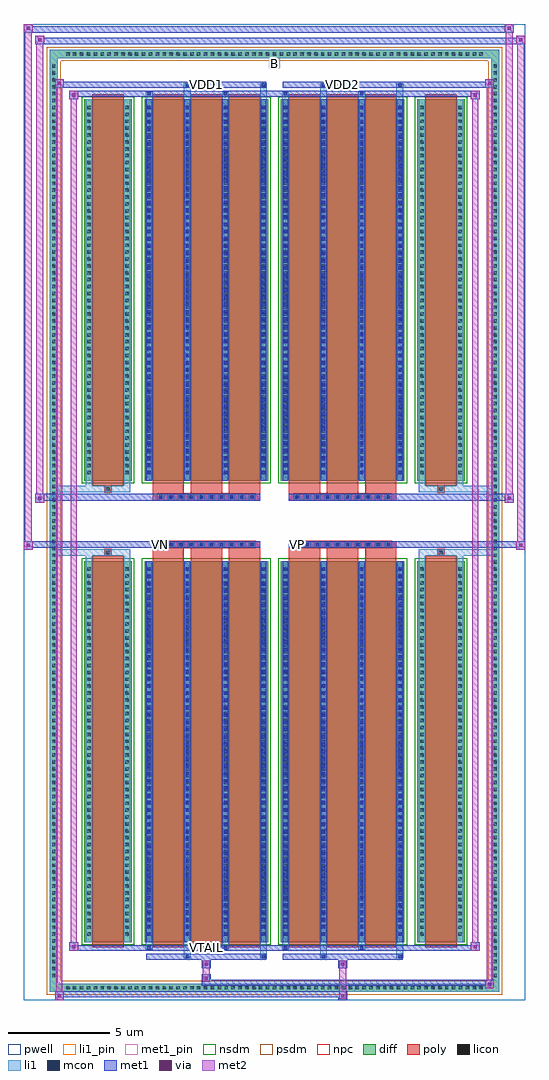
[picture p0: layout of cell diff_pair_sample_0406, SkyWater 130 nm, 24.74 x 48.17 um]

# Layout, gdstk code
import gdstk
lib = gdstk.Library(unit=1e-6, precision=5e-09)
def R(c, l, rs):  # rectangles x0, y0, x1, y1
    for r in rs: c.add(gdstk.rectangle(r[:2], r[2:], *l))
def A(c, l, x, y, w, h, nx, ny, dx, dy):  # array of equal rectangles
    R(c, l, [(x+i*dx, y+j*dy, x+i*dx+w, y+j*dy+h) for i in range(nx) for j in range(ny)])
def P(c, l, *ps):  # polygons
    for p in ps: c.add(gdstk.Polygon(p, *l))
pwell = (64, 44)
diff = (65, 20)
poly = (66, 20)
licon = (66, 44)
li1_pin = (67, 16)
li1 = (67, 20)
mcon = (67, 44)
met1_pin = (68, 16)
met1 = (68, 20)
via = (68, 44)
met2 = (69, 20)
nsdm = (93, 44)
psdm = (94, 20)
npc = (95, 20)

diff_pair_sample_0406 = lib.new_cell('diff_pair_sample_0406')
R(diff_pair_sample_0406, pwell, [(-12.37,-23.65,12.37,24.52), (-9.69,-21.84,-0.01,-0.8), (0.01,-21.84,9.69,-0.8), (-9.69,0.8,-0.01,21.84), (0.01,0.8,9.69,21.84)])
A(diff_pair_sample_0406, diff, -10.405, -23.25, 0.41, 0.41, 61, 2, 0.34, 46.09)
A(diff_pair_sample_0406, diff, -11.1, -22.645, 0.41, 0.41, 1, 133, 0, 0.34)
A(diff_pair_sample_0406, diff, 10.69, -22.645, 0.41, 0.41, 1, 133, 0, 0.34)
R(diff_pair_sample_0406, diff, [(-10.405,-23.25,10.405,-22.84), (-11.1,-22.645,-10.69,22.645), (10.69,-22.645,11.1,22.645), (-9.38,-20.795,-7.05,-1.985), (-6.41,-20.795,-0.32,-1.985), (0.32,-20.795,6.41,-1.985), (7.05,-20.795,9.38,-1.985), (-9.38,1.985,-7.05,20.795), (-6.41,1.985,-0.32,20.795), (0.32,1.985,6.41,20.795), (7.05,1.985,9.38,20.795), (-10.405,22.84,10.405,23.25)])
P(diff_pair_sample_0406, diff, [(11.1,23.25),(-11.1,23.25),(-11.1,-22.84),(-10.69,-22.84),(-10.69,22.84),(10.69,22.84),(10.69,-22.84),(-10.69,-22.84),(-11.1,-22.84),(-11.1,-23.25),(11.1,-23.25)])
A(diff_pair_sample_0406, poly, -6.02, -21.045, 1.55, 19.31, 3, 2, 1.88, 22.78)
A(diff_pair_sample_0406, poly, 0.71, -21.045, 1.55, 19.31, 3, 2, 1.88, 22.78)
A(diff_pair_sample_0406, poly, -6.02, -1.735, 1.55, 0.405, 3, 2, 1.88, 3.065)
A(diff_pair_sample_0406, poly, 0.71, -1.735, 1.55, 0.405, 3, 2, 1.88, 3.065)
A(diff_pair_sample_0406, poly, -5.78, -1.33, 0.33, 0.33, 10, 2, 0.5, 2.33)
A(diff_pair_sample_0406, poly, 0.95, -1.33, 0.33, 0.33, 10, 2, 0.5, 2.33)
R(diff_pair_sample_0406, poly, [(-8.99,-21.045,-7.44,-1.735), (7.44,-21.045,8.99,-1.735), (-8.38,-1.735,-8.05,-1.405), (-8.38,-1.735,-8.05,-1.405), (8.05,-1.735,8.38,-1.405), (8.05,-1.735,8.38,-1.405), (-6.02,-1.33,-0.71,-1), (0.71,-1.33,6.02,-1), (-6.02,1,-0.71,1.33), (0.71,1,6.02,1.33), (-8.38,1.405,-8.05,1.735), (-8.38,1.405,-8.05,1.735), (8.05,1.405,8.38,1.735), (8.05,1.405,8.38,1.735), (-8.99,1.735,-7.44,21.045), (7.44,1.735,8.99,21.045)])
A(diff_pair_sample_0406, licon, -10.285, -23.13, 0.17, 0.17, 61, 2, 0.34, 46.09)
A(diff_pair_sample_0406, licon, -10.98, -22.525, 0.17, 0.17, 1, 133, 0, 0.34)
A(diff_pair_sample_0406, licon, 10.81, -22.525, 0.17, 0.17, 1, 133, 0, 0.34)
A(diff_pair_sample_0406, licon, -9.24, -20.485, 0.17, 0.17, 1, 54, 0, 0.34)
A(diff_pair_sample_0406, licon, -7.36, -20.485, 0.17, 0.17, 1, 54, 0, 0.34)
A(diff_pair_sample_0406, licon, -6.27, -20.485, 0.17, 0.17, 4, 54, 1.88, 0.34)
A(diff_pair_sample_0406, licon, 0.46, -20.485, 0.17, 0.17, 4, 54, 1.88, 0.34)
A(diff_pair_sample_0406, licon, 7.19, -20.485, 0.17, 0.17, 1, 54, 0, 0.34)
A(diff_pair_sample_0406, licon, 9.07, -20.485, 0.17, 0.17, 1, 54, 0, 0.34)
A(diff_pair_sample_0406, licon, -5.7, -1.25, 0.17, 0.17, 10, 2, 0.5, 2.33)
A(diff_pair_sample_0406, licon, 1.03, -1.25, 0.17, 0.17, 10, 2, 0.5, 2.33)
A(diff_pair_sample_0406, licon, -9.24, 2.295, 0.17, 0.17, 1, 54, 0, 0.34)
A(diff_pair_sample_0406, licon, -7.36, 2.295, 0.17, 0.17, 1, 54, 0, 0.34)
A(diff_pair_sample_0406, licon, -6.27, 2.295, 0.17, 0.17, 4, 54, 1.88, 0.34)
A(diff_pair_sample_0406, licon, 0.46, 2.295, 0.17, 0.17, 4, 54, 1.88, 0.34)
A(diff_pair_sample_0406, licon, 7.19, 2.295, 0.17, 0.17, 1, 54, 0, 0.34)
A(diff_pair_sample_0406, licon, 9.07, 2.295, 0.17, 0.17, 1, 54, 0, 0.34)
R(diff_pair_sample_0406, licon, [(-8.3,-1.655,-8.13,-1.485), (8.13,-1.655,8.3,-1.485), (-8.3,1.485,-8.13,1.655), (8.13,1.485,8.3,1.655)])
R(diff_pair_sample_0406, li1_pin, [(-0.25,22.34,0.25,22.84)])
A(diff_pair_sample_0406, li1, -10.365, -23.21, 0.33, 0.33, 61, 2, 0.34, 46.09)
A(diff_pair_sample_0406, li1, -11.06, -22.605, 0.33, 0.33, 1, 133, 0, 0.34)
A(diff_pair_sample_0406, li1, 10.73, -22.605, 0.33, 0.33, 1, 133, 0, 0.34)
A(diff_pair_sample_0406, li1, -6.35, -20.795, 0.33, 18.81, 4, 2, 1.88, 22.78)
A(diff_pair_sample_0406, li1, 0.38, -20.795, 0.33, 18.81, 4, 2, 1.88, 22.78)
A(diff_pair_sample_0406, li1, -9.32, -20.565, 0.33, 0.33, 1, 54, 0, 0.34)
A(diff_pair_sample_0406, li1, -7.44, -20.565, 0.33, 0.33, 1, 54, 0, 0.34)
A(diff_pair_sample_0406, li1, -6.35, -20.565, 0.33, 0.33, 4, 54, 1.88, 0.34)
A(diff_pair_sample_0406, li1, 0.38, -20.565, 0.33, 0.33, 4, 54, 1.88, 0.34)
A(diff_pair_sample_0406, li1, 7.11, -20.565, 0.33, 0.33, 1, 54, 0, 0.34)
A(diff_pair_sample_0406, li1, 8.99, -20.565, 0.33, 0.33, 1, 54, 0, 0.34)
A(diff_pair_sample_0406, li1, -6.27, -20.475, 0.17, 0.17, 4, 51, 1.88, 0.36)
A(diff_pair_sample_0406, li1, -6.27, -20.475, 0.17, 18.17, 4, 2, 1.88, 22.78)
A(diff_pair_sample_0406, li1, 0.46, -20.475, 0.17, 0.17, 4, 51, 1.88, 0.36)
A(diff_pair_sample_0406, li1, 0.46, -20.475, 0.17, 18.17, 4, 2, 1.88, 22.78)
A(diff_pair_sample_0406, li1, -5.78, -1.33, 0.33, 0.33, 10, 2, 0.5, 2.33)
A(diff_pair_sample_0406, li1, 0.95, -1.33, 0.33, 0.33, 10, 2, 0.5, 2.33)
A(diff_pair_sample_0406, li1, -9.32, 2.215, 0.33, 0.33, 1, 54, 0, 0.34)
A(diff_pair_sample_0406, li1, -7.44, 2.215, 0.33, 0.33, 1, 54, 0, 0.34)
A(diff_pair_sample_0406, li1, -6.35, 2.215, 0.33, 0.33, 4, 54, 1.88, 0.34)
A(diff_pair_sample_0406, li1, 0.38, 2.215, 0.33, 0.33, 4, 54, 1.88, 0.34)
A(diff_pair_sample_0406, li1, 7.11, 2.215, 0.33, 0.33, 1, 54, 0, 0.34)
A(diff_pair_sample_0406, li1, 8.99, 2.215, 0.33, 0.33, 1, 54, 0, 0.34)
A(diff_pair_sample_0406, li1, -6.27, 2.305, 0.17, 0.17, 4, 51, 1.88, 0.36)
A(diff_pair_sample_0406, li1, 0.46, 2.305, 0.17, 0.17, 4, 51, 1.88, 0.36)
R(diff_pair_sample_0406, li1, [(-11.1,-23.25,-10.69,-22.84), (-11.1,-23.25,-10.69,-22.84), (-10.69,-23.25,10.69,-22.84), (10.69,-23.25,11.1,-22.84), (10.69,-23.25,11.1,-22.84), (-11.1,-22.84,-10.69,22.84), (10.69,-22.84,11.1,22.84), (-4.47,-21.6,-4.14,-20.795), (-4.39,-21.6,-4.22,-21.43), (-0.71,-21.6,-0.38,-20.795), (-0.63,-21.6,-0.46,-21.43), (2.26,-21.6,2.59,-20.795), (2.34,-21.6,2.51,-21.43), (6.02,-21.6,6.35,-20.795), (6.1,-21.6,6.27,-21.43), (-6.35,-21.17,-6.02,-20.795), (-6.27,-21.17,-6.1,-21), (-2.59,-21.17,-2.26,-20.795), (-2.51,-21.17,-2.34,-21), (0.38,-21.17,0.71,-20.795), (0.46,-21.17,0.63,-21), (4.14,-21.17,4.47,-20.795), (4.22,-21.17,4.39,-21), (-9.32,-20.795,-8.99,-1.985), (-7.44,-20.795,-7.11,-1.985), (7.11,-20.795,7.44,-1.985), (8.99,-20.795,9.32,-1.985), (-9.32,-1.985,-8.99,-1.405), (-7.44,-1.985,-7.11,-1.405), (7.11,-1.985,7.44,-1.405), (8.99,-1.985,9.32,-1.405), (-11.1,-1.735,-8.38,-1.405), (-9.32,-1.735,-8.38,-1.405), (-8.38,-1.735,-8.05,-1.405), (-8.05,-1.735,-7.11,-1.405), (7.11,-1.735,8.05,-1.405), (8.05,-1.735,8.38,-1.405), (8.05,-1.735,11.1,-1.405), (8.38,-1.735,9.32,-1.405), (-11.1,1.405,-8.38,1.735), (-9.32,1.405,-8.38,1.735), (-9.32,1.405,-8.99,1.985), (-8.38,1.405,-8.05,1.735), (-8.05,1.405,-7.11,1.735), (-7.44,1.405,-7.11,1.985), (7.11,1.405,8.05,1.735), (7.11,1.405,7.44,1.985), (8.05,1.405,8.38,1.735), (8.05,1.405,11.1,1.735), (8.38,1.405,9.32,1.735), (8.99,1.405,9.32,1.985), (-9.32,1.985,-8.99,20.795), (-7.44,1.985,-7.11,20.795), (7.11,1.985,7.44,20.795), (8.99,1.985,9.32,20.795), (-6.35,20.795,-6.02,21.17), (-4.47,20.795,-4.14,21.6), (-2.59,20.795,-2.26,21.17), (-0.71,20.795,-0.38,21.6), (0.38,20.795,0.71,21.17), (2.26,20.795,2.59,21.6), (4.14,20.795,4.47,21.17), (6.02,20.795,6.35,21.6), (-6.27,21,-6.1,21.17), (-2.51,21,-2.34,21.17), (0.46,21,0.63,21.17), (4.22,21,4.39,21.17), (-4.39,21.43,-4.22,21.6), (-0.63,21.43,-0.46,21.6), (2.34,21.43,2.51,21.6), (6.1,21.43,6.27,21.6), (-11.1,22.84,-10.69,23.25), (-11.1,22.84,-10.69,23.25), (-10.69,22.84,10.69,23.25), (10.69,22.84,11.1,23.25), (10.69,22.84,11.1,23.25)])
A(diff_pair_sample_0406, mcon, -6.27, -20.475, 0.17, 0.17, 4, 51, 1.88, 0.36)
A(diff_pair_sample_0406, mcon, 0.46, -20.475, 0.17, 0.17, 4, 51, 1.88, 0.36)
A(diff_pair_sample_0406, mcon, -5.7, -1.25, 0.17, 0.17, 10, 2, 0.5, 2.33)
A(diff_pair_sample_0406, mcon, 1.03, -1.25, 0.17, 0.17, 10, 2, 0.5, 2.33)
A(diff_pair_sample_0406, mcon, -6.27, 2.305, 0.17, 0.17, 4, 51, 1.88, 0.36)
A(diff_pair_sample_0406, mcon, 0.46, 2.305, 0.17, 0.17, 4, 51, 1.88, 0.36)
R(diff_pair_sample_0406, mcon, [(-4.39,-21.6,-4.22,-21.43), (-0.63,-21.6,-0.46,-21.43), (2.34,-21.6,2.51,-21.43), (6.1,-21.6,6.27,-21.43), (-6.27,-21.17,-6.1,-21), (-2.51,-21.17,-2.34,-21), (0.46,-21.17,0.63,-21), (4.22,-21.17,4.39,-21), (-6.27,21,-6.1,21.17), (-2.51,21,-2.34,21.17), (0.46,21,0.63,21.17), (4.22,21,4.39,21.17), (-4.39,21.43,-4.22,21.6), (-0.63,21.43,-0.46,21.6), (2.34,21.43,2.51,21.6), (6.1,21.43,6.27,21.6)])
R(diff_pair_sample_0406, met1_pin, [(-3.5,-21.21,-3.23,-20.94), (-5.75,-1.29,-5.48,-1.02), (0.98,-1.29,1.25,-1.02), (-3.5,21.39,-3.23,21.66), (3.23,21.39,3.5,21.66)])
A(diff_pair_sample_0406, met1, -6.33, -20.795, 0.29, 18.81, 4, 2, 1.88, 22.78)
A(diff_pair_sample_0406, met1, 0.4, -20.795, 0.29, 18.81, 4, 2, 1.88, 22.78)
A(diff_pair_sample_0406, met1, -6.33, -20.535, 0.29, 0.29, 4, 51, 1.88, 0.36)
A(diff_pair_sample_0406, met1, 0.4, -20.535, 0.29, 0.29, 4, 51, 1.88, 0.36)
A(diff_pair_sample_0406, met1, -5.76, -1.31, 0.29, 0.29, 10, 2, 0.5, 2.33)
A(diff_pair_sample_0406, met1, 0.97, -1.31, 0.29, 0.29, 10, 2, 0.5, 2.33)
A(diff_pair_sample_0406, met1, -6.33, 2.245, 0.29, 0.29, 4, 51, 1.88, 0.36)
A(diff_pair_sample_0406, met1, 0.4, 2.245, 0.29, 0.29, 4, 51, 1.88, 0.36)
R(diff_pair_sample_0406, met1, [(-10.83,-23.65,-10.4,-23.22), (3.15,-23.65,3.58,-23.22), (-10.83,-23.51,3.58,-23.22), (10.4,-23.08,10.83,-22.65), (-3.58,-22.94,10.83,-22.65), (-3.58,-22.8,-3.15,-22.37), (-3.58,-22.09,-3.15,-21.66), (3.15,-22.09,3.58,-21.66), (-6.33,-21.66,-0.4,-21.37), (-4.45,-21.66,-4.16,-21.37), (-0.69,-21.66,-0.4,-21.37), (0.4,-21.66,6.33,-21.37), (2.28,-21.66,2.57,-21.37), (6.04,-21.66,6.33,-21.37), (-10.12,-21.23,-9.69,-20.8), (-10.12,-21.23,-6.33,-20.94), (-6.33,-21.23,-6.04,-20.94), (-6.33,-21.23,-0.4,-20.94), (-2.57,-21.23,-2.28,-20.94), (-0.4,-21.23,0.4,-20.94), (0.4,-21.23,0.69,-20.94), (0.4,-21.23,6.33,-20.94), (4.16,-21.23,4.45,-20.94), (6.33,-21.23,10.12,-20.94), (9.69,-21.23,10.12,-20.8), (-12.37,-1.43,-11.94,-1), (11.94,-1.43,12.37,-1), (-12.37,-1.33,-0.71,-1), (-6.02,-1.33,-0.71,-1), (0.71,-1.33,6.02,-1), (0.71,-1.33,12.37,-1), (-11.8,0.9,-11.37,1.33), (11.37,0.9,11.8,1.33), (-11.8,1,-6.02,1.33), (-6.02,1,-0.71,1.33), (0.71,1,6.02,1.33), (6.02,1,11.8,1.33), (-10.12,20.8,-9.69,21.23), (9.69,20.8,10.12,21.23), (-10.12,20.94,-6.33,21.23), (-6.33,20.94,-6.04,21.23), (-6.33,20.94,-0.4,21.23), (-2.57,20.94,-2.28,21.23), (-0.4,20.94,0.4,21.23), (0.4,20.94,0.69,21.23), (0.4,20.94,6.33,21.23), (4.16,20.94,4.45,21.23), (6.33,20.94,10.12,21.23), (-10.83,21.37,-10.4,21.8), (-10.83,21.37,-6.33,21.66), (-6.33,21.37,-0.4,21.66), (-4.45,21.37,-4.16,21.66), (-0.69,21.37,-0.4,21.66), (0.4,21.37,6.33,21.66), (2.28,21.37,2.57,21.66), (6.04,21.37,6.33,21.66), (6.33,21.37,10.83,21.66), (10.4,21.37,10.83,21.8), (-11.8,23.52,-11.37,23.95), (-11.8,23.52,-9.69,23.85), (-9.69,23.52,9.69,23.85), (9.69,23.52,12.37,23.85), (11.94,23.52,12.37,23.95), (-12.37,24.09,-11.94,24.52), (-12.37,24.09,-9.69,24.42), (-9.69,24.09,9.69,24.42), (9.69,24.09,11.8,24.42), (11.37,24.09,11.8,24.52)])
R(diff_pair_sample_0406, via, [(-10.69,-23.51,-10.54,-23.36), (3.29,-23.51,3.44,-23.36), (10.54,-22.94,10.69,-22.79), (-3.44,-22.66,-3.29,-22.51), (-3.44,-21.95,-3.29,-21.8), (3.29,-21.95,3.44,-21.8), (-9.98,-21.09,-9.83,-20.94), (9.83,-21.09,9.98,-20.94), (-12.23,-1.29,-12.08,-1.14), (12.08,-1.29,12.23,-1.14), (-11.66,1.04,-11.51,1.19), (11.51,1.04,11.66,1.19), (-9.98,20.94,-9.83,21.09), (9.83,20.94,9.98,21.09), (-10.69,21.51,-10.54,21.66), (10.54,21.51,10.69,21.66), (-11.66,23.66,-11.51,23.81), (12.08,23.66,12.23,23.81), (-12.23,24.23,-12.08,24.38), (11.51,24.23,11.66,24.38)])
R(diff_pair_sample_0406, met2, [(-10.83,-23.65,-10.4,-23.22), (-10.76,-23.65,-10.47,21.8), (-10.47,-23.65,-10.4,-23.22), (-10.78,-23.6,-10.45,-23.27), (3.2,-23.6,3.53,-23.27), (3.2,-23.27,3.53,-22.04), (10.4,-23.08,10.83,-22.65), (10.47,-23.08,10.76,21.8), (10.76,-23.08,10.83,-22.65), (10.45,-23.03,10.78,-22.7), (-3.53,-22.75,-3.2,-22.42), (-3.53,-22.42,-3.2,-22.04), (-3.53,-22.04,-3.2,-21.71), (3.2,-22.04,3.53,-21.71), (-10.12,-21.23,-9.69,-20.8), (-10.05,-21.23,-9.76,21.23), (-9.76,-21.23,-9.69,-20.8), (9.69,-21.23,10.12,-20.8), (9.76,-21.23,10.05,21.23), (10.05,-21.23,10.12,-20.8), (-10.07,-21.18,-9.74,-20.85), (9.74,-21.18,10.07,-20.85), (-12.37,-1.43,-11.94,-1), (-12.32,-1.43,-11.99,24.52), (-11.99,-1.43,-11.94,-1), (11.94,-1.43,12.37,-1), (11.99,-1.43,12.32,23.95), (12.32,-1.43,12.37,-1), (-12.32,-1.38,-11.99,-1.05), (11.99,-1.38,12.32,-1.05), (-11.8,0.9,-11.37,1.33), (-11.75,0.9,-11.42,23.95), (-11.42,0.9,-11.37,1.33), (11.37,0.9,11.8,1.33), (11.42,0.9,11.75,24.52), (11.75,0.9,11.8,1.33), (-11.75,0.95,-11.42,1.28), (11.42,0.95,11.75,1.28), (-10.12,20.8,-9.69,21.23), (-9.76,20.8,-9.69,21.23), (9.69,20.8,10.12,21.23), (10.05,20.8,10.12,21.23), (-10.07,20.85,-9.74,21.18), (9.74,20.85,10.07,21.18), (-10.83,21.37,-10.4,21.8), (-10.47,21.37,-10.4,21.8), (10.4,21.37,10.83,21.8), (10.76,21.37,10.83,21.8), (-10.78,21.42,-10.45,21.75), (10.45,21.42,10.78,21.75), (-11.8,23.52,-11.37,23.95), (-11.42,23.52,-11.37,23.95), (11.94,23.52,12.37,23.95), (12.32,23.52,12.37,23.95), (-11.75,23.57,-11.42,23.9), (11.99,23.57,12.32,23.9), (-12.37,24.09,-11.94,24.52), (-11.99,24.09,-11.94,24.52), (11.37,24.09,11.8,24.52), (11.75,24.09,11.8,24.52), (-12.32,24.14,-11.99,24.47), (11.42,24.14,11.75,24.47)])
R(diff_pair_sample_0406, nsdm, [(-9.51,-20.925,-6.92,-1.855), (-6.54,-20.925,-0.19,-1.855), (0.19,-20.925,6.54,-1.855), (6.92,-20.925,9.51,-1.855), (-9.51,1.855,-6.92,20.925), (-6.54,1.855,-0.19,20.925), (0.19,1.855,6.54,20.925), (6.92,1.855,9.51,20.925)])
P(diff_pair_sample_0406, psdm, [(11.23,23.38),(-11.23,23.38),(-11.23,-22.71),(-10.56,-22.71),(-10.56,22.71),(10.56,22.71),(10.56,-22.71),(-10.56,-22.71),(-11.23,-22.71),(-11.23,-23.38),(11.23,-23.38)])
A(diff_pair_sample_0406, npc, -5.8, -1.35, 0.37, 0.37, 10, 2, 0.5, 2.33)
A(diff_pair_sample_0406, npc, 0.93, -1.35, 0.37, 0.37, 10, 2, 0.5, 2.33)
R(diff_pair_sample_0406, npc, [(-8.4,-1.755,-8.03,-1.385), (8.03,-1.755,8.4,-1.385), (-5.8,-1.35,-4.93,-0.98), (-5.8,-1.35,-4.93,-0.98), (-5.3,-1.35,-4.43,-0.98), (-5.3,-1.35,-4.43,-0.98), (-4.8,-1.35,-3.93,-0.98), (-4.8,-1.35,-3.93,-0.98), (-4.3,-1.35,-3.43,-0.98), (-4.3,-1.35,-3.43,-0.98), (-3.8,-1.35,-2.93,-0.98), (-3.8,-1.35,-2.93,-0.98), (-3.3,-1.35,-2.43,-0.98), (-3.3,-1.35,-2.43,-0.98), (-2.8,-1.35,-1.93,-0.98), (-2.8,-1.35,-1.93,-0.98), (-2.3,-1.35,-1.43,-0.98), (-2.3,-1.35,-1.43,-0.98), (-1.8,-1.35,-0.93,-0.98), (-1.8,-1.35,-0.93,-0.98), (0.93,-1.35,1.8,-0.98), (0.93,-1.35,1.8,-0.98), (1.43,-1.35,2.3,-0.98), (1.43,-1.35,2.3,-0.98), (1.93,-1.35,2.8,-0.98), (1.93,-1.35,2.8,-0.98), (2.43,-1.35,3.3,-0.98), (2.43,-1.35,3.3,-0.98), (2.93,-1.35,3.8,-0.98), (2.93,-1.35,3.8,-0.98), (3.43,-1.35,4.3,-0.98), (3.43,-1.35,4.3,-0.98), (3.93,-1.35,4.8,-0.98), (3.93,-1.35,4.8,-0.98), (4.43,-1.35,5.3,-0.98), (4.43,-1.35,5.3,-0.98), (4.93,-1.35,5.8,-0.98), (4.93,-1.35,5.8,-0.98), (-5.8,0.98,-4.93,1.35), (-5.8,0.98,-4.93,1.35), (-5.3,0.98,-4.43,1.35), (-5.3,0.98,-4.43,1.35), (-4.8,0.98,-3.93,1.35), (-4.8,0.98,-3.93,1.35), (-4.3,0.98,-3.43,1.35), (-4.3,0.98,-3.43,1.35), (-3.8,0.98,-2.93,1.35), (-3.8,0.98,-2.93,1.35), (-3.3,0.98,-2.43,1.35), (-3.3,0.98,-2.43,1.35), (-2.8,0.98,-1.93,1.35), (-2.8,0.98,-1.93,1.35), (-2.3,0.98,-1.43,1.35), (-2.3,0.98,-1.43,1.35), (-1.8,0.98,-0.93,1.35), (-1.8,0.98,-0.93,1.35), (0.93,0.98,1.8,1.35), (0.93,0.98,1.8,1.35), (1.43,0.98,2.3,1.35), (1.43,0.98,2.3,1.35), (1.93,0.98,2.8,1.35), (1.93,0.98,2.8,1.35), (2.43,0.98,3.3,1.35), (2.43,0.98,3.3,1.35), (2.93,0.98,3.8,1.35), (2.93,0.98,3.8,1.35), (3.43,0.98,4.3,1.35), (3.43,0.98,4.3,1.35), (3.93,0.98,4.8,1.35), (3.93,0.98,4.8,1.35), (4.43,0.98,5.3,1.35), (4.43,0.98,5.3,1.35), (4.93,0.98,5.8,1.35), (4.93,0.98,5.8,1.35), (-8.4,1.385,-8.03,1.755), (8.03,1.385,8.4,1.755)])
diff_pair_sample_0406.add(gdstk.Label('VTAIL', (-3.365,-21.075), layer=68, texttype=5))
diff_pair_sample_0406.add(gdstk.Label('VN', (-5.615,-1.155), layer=68, texttype=5))
diff_pair_sample_0406.add(gdstk.Label('VP', (1.115,-1.155), layer=68, texttype=5))
diff_pair_sample_0406.add(gdstk.Label('B', (0,22.59), layer=67, texttype=5))
diff_pair_sample_0406.add(gdstk.Label('VDD2', (3.365,21.525), layer=68, texttype=5))
diff_pair_sample_0406.add(gdstk.Label('VDD1', (-3.365,21.525), layer=68, texttype=5))

lib.write_gds('diff_pair_sample_0406.gds')
